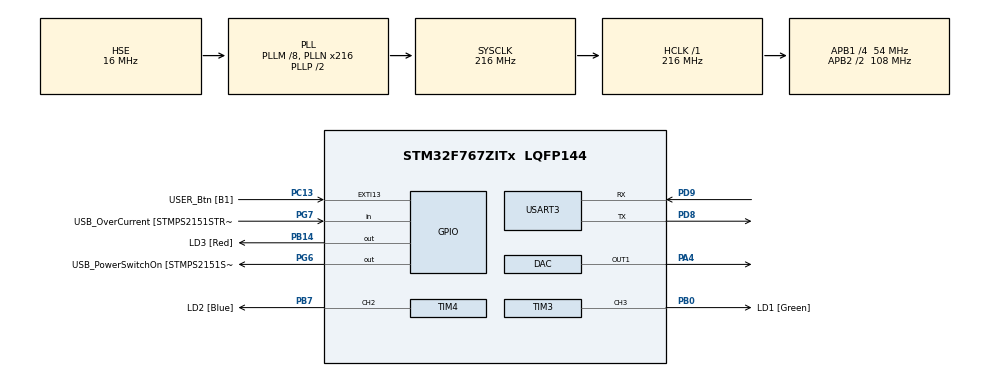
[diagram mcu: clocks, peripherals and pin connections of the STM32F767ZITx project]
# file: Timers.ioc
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ADC1.Channel-0\#ChannelRegularConversion=ADC_CHANNEL_TEMPSENSOR
ADC1.EOCSelection=ADC_EOC_SEQ_CONV
ADC1.ExternalTrigConv=ADC_EXTERNALTRIGCONV_T6_TRGO
ADC1.InjNumberOfConversion=0
ADC1.NbrOfConversionFlag=1
ADC1.Rank-0\#ChannelRegularConversion=1
ADC1.SamplingTime-0\#ChannelRegularConversion=ADC_SAMPLETIME_3CYCLES
ADC1.master=1
DAC.DAC_OutputBuffer=DAC_OUTPUTBUFFER_DISABLE
DAC.DAC_Trigger=DAC_TRIGGER_NONE
Mcu.Family=STM32F7
Mcu.Name=STM32F767ZITx
Mcu.Package=LQFP144
NVIC.ADC_IRQn=true\:0\:0\:false\:false\:true\:true\:true
NVIC.PriorityGroup=NVIC_PRIORITYGROUP_4
NVIC.TIM3_IRQn=true\:0\:0\:false\:false\:true\:true\:true
PA13.Mode=Serial_Wire
PA13.Signal=SYS_JTMS-SWDIO
PA14.Mode=Serial_Wire
PA14.Signal=SYS_JTCK-SWCLK
PA4.Signal=COMP_DAC1_group
PB0.GPIO_Label=LD1 [Green]
PB0.Signal=S_TIM3_CH3
PB14.GPIO_Label=LD3 [Red]
PB14.Signal=GPIO_Output
PB7.GPIO_Label=LD2 [Blue]
PB7.Signal=S_TIM4_CH2
PC13.GPIO_Label=USER_Btn [B1]
PC13.Signal=GPXTI13
PC14/OSC32_IN.Mode=LSE-External-Oscillator
PC14/OSC32_IN.Signal=RCC_OSC32_IN
PC15/OSC32_OUT.Mode=LSE-External-Oscillator
PC15/OSC32_OUT.Signal=RCC_OSC32_OUT
PD8.Mode=Asynchronous
PD8.Signal=USART3_TX
PD9.Mode=Asynchronous
PD9.Signal=USART3_RX
PG6.GPIO_Label=USB_PowerSwitchOn [STMPS2151STR_EN]
PG6.Signal=GPIO_Output
PG7.GPIO_Label=USB_OverCurrent [STMPS2151STR_FAULT]
PG7.Signal=GPIO_Input
PH0/OSC_IN.Mode=HSE-External-Oscillator
PH0/OSC_IN.Signal=RCC_OSC_IN
PH1/OSC_OUT.Mode=HSE-External-Oscillator
PH1/OSC_OUT.Signal=RCC_OSC_OUT
ProjectManager.HeapSize=0x200
ProjectManager.StackSize=0x400
ProjectManager.TargetToolchain=MDK-ARM V5
RCC.48MHZClocksFreq_Value=24000000
RCC.AHBFreq_Value=216000000
RCC.APB1CLKDivider=RCC_HCLK_DIV4
RCC.APB1Freq_Value=54000000
RCC.APB1TimFreq_Value=108000000
RCC.APB2CLKDivider=RCC_HCLK_DIV2
RCC.APB2Freq_Value=108000000
RCC.APB2TimFreq_Value=216000000
RCC.CortexFreq_Value=216000000
RCC.HCLKFreq_Value=216000000
RCC.HSE_VALUE=16000000
RCC.HSI_VALUE=16000000
RCC.PLLM=8
RCC.PLLMUL=RCC_PLL_MUL9
RCC.PLLN=216
RCC.PLLSourceVirtual=RCC_PLLSOURCE_HSE
RCC.PRESCALERUSB=RCC_USBCLKSOURCE_PLL_DIV1_5
RCC.SYSCLKFreq_VALUE=216000000
RCC.SYSCLKSource=RCC_SYSCLKSOURCE_PLLCLK
RCC.SYSCLKSourceVirtual=RCC_SYSCLKSOURCE_PLLCLK
RCC.USART3CLockSelection=RCC_USART3CLKSOURCE_HSI
RCC.USBFreq_Value=216000000
RCC.VCOOutputFreq_Value=432000000
SH.COMP_DAC1_group.0=DAC_OUT1,DAC_OUT1
SH.S_TIM3_CH3.0=TIM3_CH3,Output Compare3 CH3
SH.S_TIM4_CH2.0=TIM4_CH2,PWM Generation2 CH2
TIM3.AutoReloadPreload=TIM_AUTORELOAD_PRELOAD_ENABLE
TIM3.Channel-Output\ Compare3\ CH3=TIM_CHANNEL_3
TIM3.CounterMode=TIM_COUNTERMODE_UP
TIM3.OCMode_3=TIM_OCMODE_TOGGLE
TIM3.OCPolarity_3=TIM_OCPOLARITY_HIGH
TIM3.Period=59999
TIM3.Prescaler=89
TIM3.Pulse-Output\ Compare3\ CH3=29999
TIM3.TIM_MasterOutputTrigger=TIM_TRGO_OC3REF
TIM3.TIM_MasterSlaveMode=TIM_MASTERSLAVEMODE_DISABLE
TIM4.AutoReloadPreload=TIM_AUTORELOAD_PRELOAD_ENABLE
TIM4.Channel-PWM\ Generation2\ CH2=TIM_CHANNEL_2
TIM4.OCPolarity_2=TIM_OCPOLARITY_HIGH
TIM4.Period=9999
TIM4.Prescaler=0
TIM4.TIM_MasterOutputTrigger=TIM_TRGO_OC2REF
TIM6.Period=62499
TIM6.Prescaler=431
TIM6.TIM_MasterOutputTrigger=TIM_TRGO_UPDATE
USART3.Parity=PARITY_NONE
USART3.VirtualMode-Asynchronous=VM_ASYNC
USART3.WordLength=WORDLENGTH_8B
VP_ADC1_TempSens_Input.Mode=IN-TempSens
VP_TIM3_VS_ClockSourceINT.Mode=Internal
VP_TIM4_VS_ClockSourceINT.Mode=Internal
VP_TIM6_VS_ClockSourceINT.Mode=Enable_Timer
board=NUCLEO-F767ZI

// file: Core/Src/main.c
/* USER CODE BEGIN Header */
/**
  ******************************************************************************
  * @file           : main.c
  * @brief          : Main program body
  ******************************************************************************
  * @attention
  *
  * <h2><center>&copy; Copyright (c) 2019 STMicroelectronics.
  * All rights reserved.</center></h2>
  *
  * This software component is licensed by ST under BSD 3-Clause license,
  * the "License"; You may not use this file except in compliance with the
  * License. You may obtain a copy of the License at:
  *                        opensource.org/licenses/BSD-3-Clause
  *
  ******************************************************************************
  */
/* USER CODE END Header */

#include "main.h"
#include "adc.h"
#include "dac.h"
#include "tim.h"
#include "usart.h"
#include "gpio.h"

void SystemClock_Config(void);

int main(void)
{

  /* MCU Configuration--------------------------------------------------------*/

  /* Reset of all peripherals, Initializes the Flash interface and the Systick. */
  HAL_Init();

  /* Configure the system clock */
  SystemClock_Config();

  /* Initialize all configured peripherals */
  MX_GPIO_Init();
  MX_TIM3_Init();
  MX_TIM4_Init();
  MX_USART3_UART_Init();
  MX_TIM6_Init();
  MX_ADC1_Init();
  MX_DAC_Init();
  /* USER CODE BEGIN 2 */
	HAL_TIM_Base_Start_IT(&htim3);
	HAL_TIM_OC_Start(&htim3, TIM_CHANNEL_3);
	HAL_TIM_PWM_Start(&htim4, TIM_CHANNEL_2);
	HAL_TIM_Base_Start_IT(&htim6);
	HAL_ADC_Start_IT(&hadc1);
  /* USER CODE END 2 */

  /* Infinite loop */
  /* USER CODE BEGIN WHILE */
  while (1) {
		double temp;
		if(adcFlag){
			adcFlag = 0;
			temp = ((((double) adcValue * 3300 / 4095) - 760.0) / 2.5) + 25;
			printf("adcValue: %u\r\n", adcValue);
			printf("Temperature: %0.2lf %cC\r\n", temp, 0xBA);
			if(HAL_DAC_GetState(&hdac) != HAL_DAC_STATE_READY){
				HAL_DAC_Stop(&hdac,DAC1_CHANNEL_1);
			}
			if(HAL_DAC_Start(&hdac,DAC1_CHANNEL_1) == HAL_OK){
				HAL_DAC_SetValue(&hdac, DAC1_CHANNEL_1, DAC_ALIGN_12B_R, adcValue);
			}
		}
    /* USER CODE END WHILE */

  }
}

void SystemClock_Config(void)
{
  RCC_OscInitTypeDef RCC_OscInitStruct = {0};
  RCC_ClkInitTypeDef RCC_ClkInitStruct = {0};
  RCC_PeriphCLKInitTypeDef PeriphClkInitStruct = {0};

  /** Configure LSE Drive Capability
  */
  HAL_PWR_EnableBkUpAccess();
  /** Configure the main internal regulator output voltage
  */
  __HAL_RCC_PWR_CLK_ENABLE();
  __HAL_PWR_VOLTAGESCALING_CONFIG(PWR_REGULATOR_VOLTAGE_SCALE1);
  /** Initializes the CPU, AHB and APB busses clocks
  */
  RCC_OscInitStruct.OscillatorType = RCC_OSCILLATORTYPE_HSI|RCC_OSCILLATORTYPE_HSE;
  RCC_OscInitStruct.HSEState = RCC_HSE_ON;
  RCC_OscInitStruct.HSIState = RCC_HSI_ON;
  RCC_OscInitStruct.HSICalibrationValue = RCC_HSICALIBRATION_DEFAULT;
  RCC_OscInitStruct.PLL.PLLState = RCC_PLL_ON;
  RCC_OscInitStruct.PLL.PLLSource = RCC_PLLSOURCE_HSE;
  RCC_OscInitStruct.PLL.PLLM = 8;
  RCC_OscInitStruct.PLL.PLLN = 216;
  RCC_OscInitStruct.PLL.PLLP = RCC_PLLP_DIV2;
  RCC_OscInitStruct.PLL.PLLQ = 2;
  if (HAL_RCC_OscConfig(&RCC_OscInitStruct) != HAL_OK)
  {
    Error_Handler();
  }
  /** Activate the Over-Drive mode
  */
  if (HAL_PWREx_EnableOverDrive() != HAL_OK)
  {
    Error_Handler();
  }
  /** Initializes the CPU, AHB and APB busses clocks
  */
  RCC_ClkInitStruct.ClockType = RCC_CLOCKTYPE_HCLK|RCC_CLOCKTYPE_SYSCLK
                              |RCC_CLOCKTYPE_PCLK1|RCC_CLOCKTYPE_PCLK2;
  RCC_ClkInitStruct.SYSCLKSource = RCC_SYSCLKSOURCE_PLLCLK;
  RCC_ClkInitStruct.AHBCLKDivider = RCC_SYSCLK_DIV1;
  RCC_ClkInitStruct.APB1CLKDivider = RCC_HCLK_DIV4;
  RCC_ClkInitStruct.APB2CLKDivider = RCC_HCLK_DIV2;

  if (HAL_RCC_ClockConfig(&RCC_ClkInitStruct, FLASH_LATENCY_7) != HAL_OK)
  {
    Error_Handler();
  }
  PeriphClkInitStruct.PeriphClockSelection = RCC_PERIPHCLK_USART3;
  PeriphClkInitStruct.Usart3ClockSelection = RCC_USART3CLKSOURCE_HSI;
  if (HAL_RCCEx_PeriphCLKConfig(&PeriphClkInitStruct) != HAL_OK)
  {
    Error_Handler();
  }
}

void Error_Handler(void)
{
}

/************************ (C) COPYRIGHT STMicroelectronics *****END OF FILE****/
